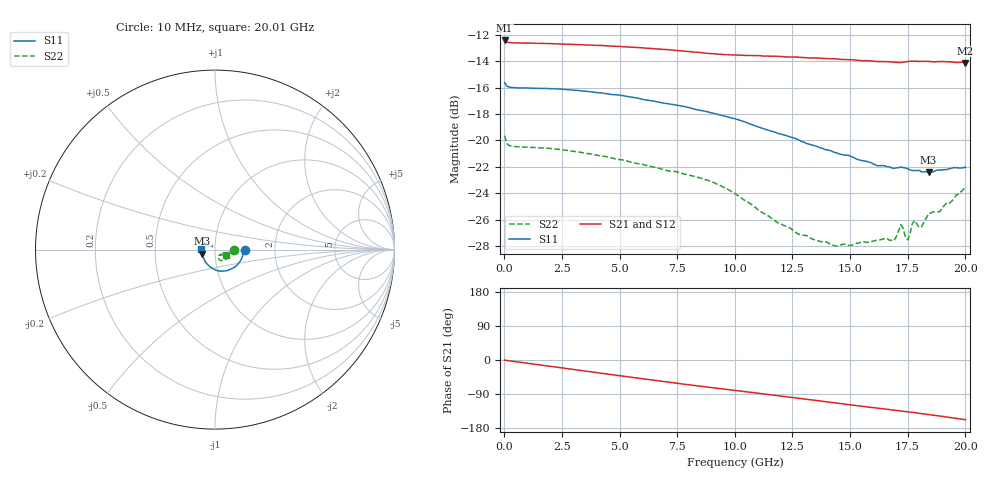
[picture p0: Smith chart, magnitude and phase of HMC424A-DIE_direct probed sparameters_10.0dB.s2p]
!s2p File: Measurements: S11, S21, S12, S22
# GHz S dB R 50.0
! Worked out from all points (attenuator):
!   201 points, 10 MHz to 20.01 GHz, reference 50 ohm
!   highest |S21| = -12.41 dB at 10 MHz (marker M1); lowest = -14.1 dB at 20.01 GHz (marker M2)
!   lowest |S11| = -22.4 dB at 18.41 GHz (marker M3), VSWR 1.16, Z = 43.2 - j1.93 ohm
!   |S11| at or under -10 dB: start of sweep to end of sweep
!   |S22| runs from -28.0 to -19.6 dB; largest |S21 - S12| = 0.0018
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0.01  -15.61 -0.8  -12.41 -0.4  -12.42 -0.4  -19.63 -1.6
0.11  -15.88 -1.9  -12.54 -1.4  -12.54 -1.4  -20.25 -2.9
0.31  -15.98 -2.9  -12.58 -2.9  -12.58 -2.9  -20.42 -3.5
3.41  -16.25 -25.8  -12.74 -28.4  -12.74 -28.4  -20.93 -25.9
6.71  -17.10 -51.8  -13.06 -55.3  -13.06 -55.3  -22.11 -47.0
8.81  -17.82 -69.2  -13.39 -71.5  -13.39 -71.5  -23.01 -59.4
10.01  -18.36 -80.2  -13.51 -80.2  -13.52 -80.2  -24.03 -66.4
11.81  -19.41 -96.5  -13.61 -93.7  -13.62 -93.6  -26.19 -69.0
13.41  -20.37 -111.3  -13.74 -105.9  -13.75 -105.9  -27.50 -63.2
14.41  -20.93 -121.5  -13.81 -113.5  -13.82 -113.5  -28.02 -57.1
16.71  -22.00 -145.1  -14.03 -130.8  -14.01 -130.8  -27.56 -45.0
16.91  -22.12 -147.1  -14.07 -132.3  -14.01 -132.2  -27.60 -41.5
17.21  -22.02 -149.8  -14.08 -134.3  -14.03 -134.4  -26.39 -41.4
17.41  -22.09 -152.3  -14.03 -135.6  -14.04 -135.9  -27.34 -43.8
17.51  -22.14 -153.4  -14.01 -136.4  -14.03 -136.8  -27.53 -38.1
17.71  -22.28 -154.8  -13.98 -138.1  -14.02 -138.2  -26.30 -34.9
17.81  -22.28 -155.5  -13.99 -138.9  -14.01 -139.0  -26.06 -37.1
18.01  -22.27 -158.3  -14.00 -140.8  -14.03 -140.6  -26.60 -36.8
18.11  -22.39 -159.3  -13.99 -141.5  -14.04 -141.3  -26.53 -33.9
18.41  -22.42 -162.9  -14.00 -143.9  -14.02 -143.8  -25.56 -32.5
18.91  -22.26 -168.3  -14.02 -148.1  -14.02 -147.9  -25.39 -30.9
20.01  -22.02 179.0  -14.11 -157.5  -14.08 -157.4  -23.48 -27.8
